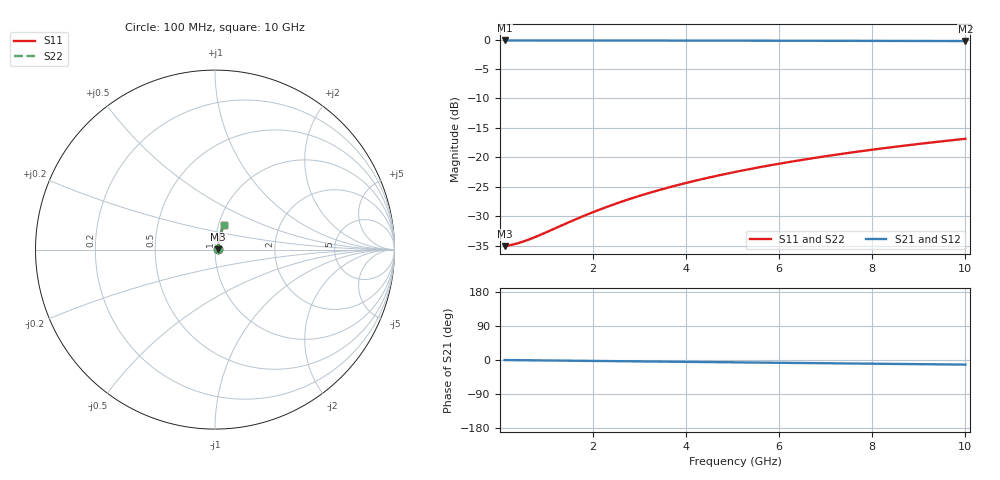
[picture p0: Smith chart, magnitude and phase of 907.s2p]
# Hz S RI R 50.00
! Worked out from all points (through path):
!   100 points, 100 MHz to 10 GHz, reference 50 ohm
!   highest |S21| = -0.15 dB at 100 MHz (marker M1); lowest = -0.3 dB at 10 GHz (marker M2)
!   group delay of S21, straight-line fit = 3.38 ps
!   lowest |S11| = -35.1 dB at 100 MHz (marker M3), VSWR 1.04, Z = 51.8 + j0.146 ohm
!   |S11| at or under -10 dB: start of sweep to end of sweep
!   |S22| runs from -35.1 to -16.9 dB; largest |S21 - S12| = 0
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1e8  0.0175 0.00141  0.9825 -0.0021  0.9825 -0.0021  0.0175 0.00141
3e8  0.0178 0.00422  0.9822 -0.0063  0.9822 -0.0063  0.0178 0.00422
4e8  0.0178 0.00563  0.9822 -0.0084  0.9822 -0.0084  0.0178 0.00563
6e8  0.018 0.00844  0.982 -0.0126  0.982 -0.0126  0.018 0.00844
9e8  0.0183 0.0127  0.9817 -0.0189  0.9817 -0.0189  0.0183 0.0127
1.5e9  0.0189 0.0211  0.9811 -0.0315  0.9811 -0.0315  0.0189 0.0211
1.8e9  0.0192 0.0253  0.9807 -0.0378  0.9807 -0.0378  0.0192 0.0253
2.2e9  0.0198 0.0309  0.9801 -0.0461  0.9801 -0.0461  0.0198 0.0309
2.6e9  0.0205 0.0364  0.9794 -0.0545  0.9794 -0.0545  0.0205 0.0364
3e9  0.0212 0.042  0.9786 -0.0628  0.9786 -0.0628  0.0212 0.042
3.4e9  0.022 0.0476  0.9777 -0.0711  0.9777 -0.0711  0.022 0.0476
3.8e9  0.0229 0.0531  0.9767 -0.0794  0.9767 -0.0794  0.0229 0.0531
4.2e9  0.024 0.0586  0.9756 -0.0877  0.9756 -0.0877  0.024 0.0586
4.6e9  0.025 0.0641  0.9744 -0.096  0.9744 -0.096  0.025 0.0641
5.1e9  0.0265 0.0709  0.9728 -0.1063  0.9728 -0.1063  0.0265 0.0709
5.5e9  0.0279 0.0763  0.9714 -0.1145  0.9714 -0.1145  0.0279 0.0763
5.9e9  0.0292 0.0818  0.9699 -0.1227  0.9699 -0.1227  0.0292 0.0818
6.7e9  0.0323 0.0925  0.9666 -0.139  0.9666 -0.139  0.0323 0.0925
7.5e9  0.0357 0.1031  0.9629 -0.1551  0.9629 -0.1551  0.0357 0.1031
8.4e9  0.0399 0.1148  0.9583 -0.1731  0.9583 -0.1731  0.0399 0.1148
9.2e9  0.0441 0.1251  0.9538 -0.189  0.9538 -0.189  0.0441 0.1251
1e10  0.0485 0.1352  0.949 -0.2046  0.949 -0.2046  0.0485 0.1352
